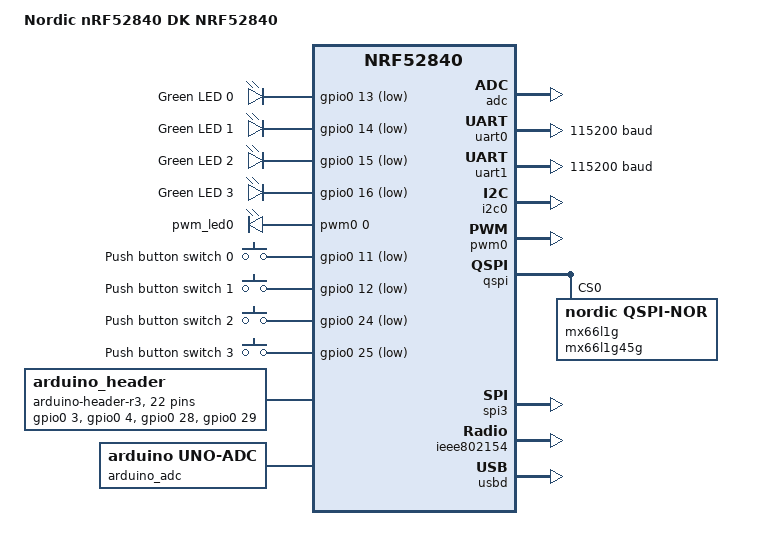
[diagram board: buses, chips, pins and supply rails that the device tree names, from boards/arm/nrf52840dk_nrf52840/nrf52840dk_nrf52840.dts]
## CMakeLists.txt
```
cmake_minimum_required(VERSION 3.20.0)

# Handle custom boilerplate, if defined
if(DEFINED CUSTOM_BOILERPLATE)
    include(${CUSTOM_BOILERPLATE})
    return()
endif()
set(BOARD_ROOT ${CMAKE_CURRENT_SOURCE_DIR})
set(COMMON_PATH "C:/ncs/v2.4.2/modules/hal/nordic/nrfx/samples/common")
include(${COMMON_PATH}/common.cmake)

GET_DEVICE_CONFIG_FILES(${BOARD} boards)

find_package(Zephyr REQUIRED HINTS $ENV{ZEPHYR_BASE})
project(nrfx_example)

target_sources(app PRIVATE  src/main.c 
                            src/Json/cJSON.c
                            src/Json/Jsonhandler.c
                            src/BLE/BleHandler.c
                            src/BLE/BleService.c 
                            src/RTC/RtcHandler.c
                            src/NVS/nvs_flash.c
                            src/ADC/AdcHandler.c
                            src/SYSTEM/SystemHandler.c
                            src/Timer/TimerHandler.c
                            src/Temperature/TempSensor.c
                            src/PMIC/PMICHandler.c
                            "C:/ncs/v2.4.2/modules/hal/nordic/nrfx/samples/src/nrfx_saadc/common/saadc_examples_common.c")
target_include_directories(app PRIVATE  src/Json
                                        src/BLE
                                        src/RTC
                                        src/NVS
                                        src/ADC
                                        src/SYSTEM
                                        src/Timer
                                        src/Temperature
                                        src/PMIC
                                        src
                                        ${COMMON_PATH} "C:/ncs/v2.4.2/modules/hal/nordic/nrfx/samples/src/nrfx_saadc/common")
```

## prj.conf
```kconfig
CONFIG_ADC=y
CONFIG_ADC_ASYNC=y
CONFIG_GPIO=y
CONFIG_STDOUT_CONSOLE=y
CONFIG_PRINTK=y
CONFIG_PWM=y
CONFIG_LOG_PRINTK=y
CONFIG_LOG_MODE_IMMEDIATE=y
CONFIG_PWM_LOG_LEVEL_DBG=y
CONFIG_NEWLIB_LIBC=y
CONFIG_ADC_NRFX_SAADC=y
CONFIG_NRFX_SAADC=y
CONFIG_LOG=y
CONFIG_PM=y
CONFIG_PM_DEVICE=y

#RTC lib enabling
CONFIG_I2C=y

CONFIG_BT=y
CONFIG_BT_PERIPHERAL=y

CONFIG_BT_USER_DATA_LEN_UPDATE=y
CONFIG_BT_GAP_AUTO_UPDATE_CONN_PARAMS=n
CONFIG_BT_BUF_ACL_RX_SIZE=498
CONFIG_BT_ATT_PREPARE_COUNT=2
CONFIG_BT_L2CAP_TX_MTU=484

CONFIG_BT_BUF_ACL_TX_COUNT=10
CONFIG_BT_BUF_ACL_TX_SIZE=37

CONFIG_LOG_DEFAULT_LEVEL=3

CONFIG_FLASH=y
CONFIG_FLASH_PAGE_LAYOUT=y

CONFIG_NVS=y
CONFIG_NVS_LOG_LEVEL_DBG=y
CONFIG_REBOOT=y
CONFIG_MPU_ALLOW_FLASH_WRITE=y

#Enable timer1
CONFIG_NRFX_TIMER1=y

CONFIG_W1=y
CONFIG_SENSOR_LOG_LEVEL_DBG=y

#Floating point support
CONFIG_CBPRINTF_FP_SUPPORT=y
CONFIG_NEWLIB_LIBC_FLOAT_PRINTF=y
CONFIG_CBPRINTF_COMPLETE=y


CONFIG_BT_DEVICE_NAME="VISENSE_TEST_MESH_IRROMETER"
CONFIG_HEAP_MEM_POOL_SIZE=4096
CONFIG_FLASH=y
CONFIG_FLASH_MAP=y
CONFIG_NVS=y
CONFIG_NVS_LOOKUP_CACHE=y
CONFIG_SETTINGS=y
CONFIG_SETTINGS_NVS_NAME_CACHE=y
CONFIG_HWINFO=y
CONFIG_DK_LIBRARY=y
CONFIG_PM_SINGLE_IMAGE=y
CONFIG_PM_PARTITION_SIZE_SETTINGS_STORAGE=0x8000
CONFIG_SOC_FLASH_NRF_PARTIAL_ERASE=y


# Temperature sensor
CONFIG_SENSOR=y
CONFIG_TEMP_NRF5=y

# Bluetooth configuration
CONFIG_BT=y
CONFIG_BT_COMPANY_ID=0x1234
CONFIG_BT_L2CAP_TX_BUF_COUNT=8
CONFIG_BT_OBSERVER=y
CONFIG_BT_PERIPHERAL=y
CONFIG_BT_SETTINGS=y

# Disable unused Bluetooth features
CONFIG_BT_CTLR_DUP_FILTER_LEN=0
CONFIG_BT_CTLR_LE_ENC=n
CONFIG_BT_PHY_UPDATE=n
CONFIG_BT_CTLR_CHAN_SEL_2=n
CONFIG_BT_CTLR_MIN_USED_CHAN=n
CONFIG_BT_CTLR_PRIVACY=n

# Bluetooth mesh configuration
CONFIG_BT_MESH=y
CONFIG_BT_MESH_RELAY=y
CONFIG_BT_MESH_FRIEND=y
CONFIG_BT_MESH_ADV_BUF_COUNT=13
CONFIG_BT_MESH_TX_SEG_MAX=22
CONFIG_BT_MESH_RX_SEG_MAX=22
CONFIG_BT_MESH_PB_GATT=y
CONFIG_BT_MESH_GATT_PROXY=y
CONFIG_BT_MESH_PROXY_USE_DEVICE_NAME=y
CONFIG_BT_MESH_DK_PROV=y
CONFIG_BT_MESH_SUBNET_COUNT=2
CONFIG_BT_MESH_APP_KEY_COUNT=3
CONFIG_BT_MESH_CRPL=10
CONFIG_BT_MESH_MSG_CACHE_SIZE=32

CONFIG_BT_MESH_RELAY_RETRANSMIT_COUNT=2
CONFIG_BT_MESH_TX_SEG_MSG_COUNT=5
CONFIG_BT_MESH_RX_SEG_MSG_COUNT=5
CONFIG_BT_MESH_TX_SEG_RETRANS_COUNT=4



CONFIG_BT_MESH_MODEL_KEY_COUNT=1
CONFIG_BT_MESH_MODEL_GROUP_COUNT=1
CONFIG_BT_MESH_APP_KEY_COUNT=3
CONFIG_BT_MESH_SEG_BUFS=7168
```

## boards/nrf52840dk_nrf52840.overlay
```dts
/*
 * SPDX-License-Identifier: Apache-2.0
 *
 * Copyright (c) 2022 Nordic Semiconductor ASA
 */
 #include "serial_overlay.dtsi"

/ {
	zephyr,user {
		io-channels = <&adc 0>, <&adc 1>, <&adc 7>;
	};
};

&adc {
	#address-cells = <1>;
	#size-cells = <0>;

	channel@0 {
		reg = <0>;
		zephyr,gain = "ADC_GAIN_1_6";
		zephyr,reference = "ADC_REF_INTERNAL";
		zephyr,acquisition-time = <ADC_ACQ_TIME_DEFAULT>;
		zephyr,input-positive = <NRF_SAADC_AIN1>; /* P0.03 */
		zephyr,resolution = <12>;
	};

	channel@1 {
		reg = <1>;
		zephyr,gain = "ADC_GAIN_1_6";
		zephyr,reference = "ADC_REF_INTERNAL";
		zephyr,acquisition-time = <ADC_ACQ_TIME_DEFAULT>;
		zephyr,input-positive = <NRF_SAADC_VDD>;
		zephyr,resolution = <14>;
		zephyr,oversampling = <8>;
	};

	channel@7 {
		reg = <7>;
		zephyr,gain = "ADC_GAIN_1_5";
		zephyr,reference = "ADC_REF_VDD_1_4";
		zephyr,vref-mv = <750>;
		zephyr,acquisition-time = <ADC_ACQ_TIME_DEFAULT>;
		zephyr,input-positive = <NRF_SAADC_AIN6>; /* P0.30 */
		zephyr,input-negative = <NRF_SAADC_AIN7>; /* P0.31 */
		zephyr,resolution = <12>;
	};
};

&arduino_adc {
	io-channel-map = <0 &adc 1>;
};


&i2c0 { /* SDA P0.26, SCL P0.27 */
	status = "okay";
	ds3231: ds3231@68 {
		compatible = "maxim,ds3231";
		reg = <0x68>;
		isw-gpios = <&gpio0 0 (GPIO_PULL_UP | GPIO_ACTIVE_LOW)>;
	};

};

&i2c1 {
	status = "okay"; 
	npm1300_ek_pmic: pmic@6b {
		compatible = "nordic,npm1300";
		reg = <0x6b>;

		npm1300_ek_gpio: gpio-controller {
			compatible = "nordic,npm1300-gpio";
			gpio-controller;
			#gpio-cells = <2>;
			ngpios = <5>;
		};

		npm1300_ek_regulators: regulators {
			compatible = "nordic,npm1300-regulator";

			/* limits are set to min/max allowed values */
			npm1300_ek_buck1: BUCK1 {
				regulator-min-microvolt = <1800000>;
				regulator-max-microvolt = <3300000>;
			};

			npm1300_ek_buck2: BUCK2 {
				regulator-min-microvolt = <1000000>;
				regulator-max-microvolt = <3300000>;
				regulator-init-microvolt = <3300000>;
				retention-microvolt = <2500000>;
				enable-gpios = <&npm1300_ek_gpio 1 GPIO_ACTIVE_LOW>;
				retention-gpios = <&npm1300_ek_gpio 2 GPIO_ACTIVE_HIGH>;
				pwm-gpios = <&npm1300_ek_gpio 2 GPIO_ACTIVE_LOW>;
			};

			npm1300_ek_ldo1: LDO1 {
				regulator-min-microvolt = <1000000>;
				regulator-max-microvolt = <3300000>;
				enable-gpios = <&npm1300_ek_gpio 2 GPIO_ACTIVE_LOW>;
			};

			npm1300_ek_ldo2: LDO2 {
				regulator-min-microvolt = <1000000>;
				regulator-max-microvolt = <3300000>;
				enable-gpios = <&npm1300_ek_gpio 2 GPIO_ACTIVE_LOW>;
			};
		};

		npm1300_ek_charger: charger {
			compatible = "nordic,npm1300-charger";
			
			term-microvolt = <4150000>;
			term-warm-microvolt = <4000000>;
			current-microamp = <150000>;
			dischg-limit-microamp = <1000000>;
			vbus-limit-microamp = <500000>;
			thermistor-ohms = <10000>;
			thermistor-beta = <3380>;
			charging-enable;
		};
	};
};




&pinctrl {
	uart1_default: uart1_default {
		group1 {
			psels = <NRF_PSEL(UART_RX, 1, 1)>;
			bias-pull-up;
		};
		group2 {
			psels = <NRF_PSEL(UART_TX, 1, 2)>;
			/* max. 5mA drive strength: */
			nordic,drive-mode = <NRF_DRIVE_H0D1>;
		};
	};
};
```

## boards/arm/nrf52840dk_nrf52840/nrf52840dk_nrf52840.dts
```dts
/*
 * Copyright (c) 2017 Linaro Limited
 *
 * SPDX-License-Identifier: Apache-2.0
 */

/dts-v1/;
#include <nordic/nrf52840_qiaa.dtsi>
#include "nrf52840dk_nrf52840-pinctrl.dtsi"

/ {
	model = "Nordic nRF52840 DK NRF52840";
	compatible = "nordic,nrf52840-dk-nrf52840";

	chosen {
		zephyr,console = &uart0;
		zephyr,shell-uart = &uart0;
		zephyr,uart-mcumgr = &uart0;
		zephyr,bt-mon-uart = &uart0;
		zephyr,bt-c2h-uart = &uart0;
		zephyr,sram = &sram0;
		zephyr,flash = &flash0;
		zephyr,code-partition = &slot0_partition;
		zephyr,ieee802154 = &ieee802154;
	};

	leds {
		compatible = "gpio-leds";
		led0: led_0 {
			gpios = <&gpio0 13 GPIO_ACTIVE_LOW>;
			label = "Green LED 0";
		};
		led1: led_1 {
			gpios = <&gpio0 14 GPIO_ACTIVE_LOW>;
			label = "Green LED 1";
		};
		led2: led_2 {
			gpios = <&gpio0 15 GPIO_ACTIVE_LOW>;
			label = "Green LED 2";
		};
		led3: led_3 {
			gpios = <&gpio0 16 GPIO_ACTIVE_LOW>;
			label = "Green LED 3";
		};
	};
	
	powerpins {
		testpin0: testpin_0 {
			compatible = "eac,testpin";
			gpios = <&gpio1 11 GPIO_ACTIVE_HIGH>;
			status = "okay";
		};
		testpin1: testpin_1 {
			compatible = "eac,testpin";
			gpios = <&gpio1 10 GPIO_ACTIVE_HIGH>;
			status = "okay";
		};
		muxinputa: muxinput_a {
			compatible = "eac,testpin";
			gpios = <&gpio1 6 GPIO_ACTIVE_HIGH>;
			status = "okay";
		};
		muxinputb: muxinput_b {
			compatible = "eac,testpin";
			gpios = <&gpio1 7 GPIO_ACTIVE_HIGH>;
			status = "okay";
		};
		muxenable: mux_enable {
			compatible = "eac,testpin";
			gpios = <&gpio1 5 GPIO_ACTIVE_LOW>;
			status = "okay";
		};		
	};
	
	pwmleds {
		compatible = "pwm-leds";
		pwm_led0: pwm_led_0 {
			pwms = <&pwm0 0 PWM_MSEC(20) PWM_POLARITY_INVERTED>;
		};
	};

	buttons {
		compatible = "gpio-keys";
		button0: button_0 {
			gpios = <&gpio0 11 (GPIO_PULL_UP | GPIO_ACTIVE_LOW)>;
			label = "Push button switch 0";
		};
		button1: button_1 {
			gpios = <&gpio0 12 (GPIO_PULL_UP | GPIO_ACTIVE_LOW)>;
			label = "Push button switch 1";
		};
		button2: button_2 {
			gpios = <&gpio0 24 (GPIO_PULL_UP | GPIO_ACTIVE_LOW)>;
			label = "Push button switch 2";
		};
		button3: button_3 {
			gpios = <&gpio0 25 (GPIO_PULL_UP | GPIO_ACTIVE_LOW)>;
			label = "Push button switch 3";
		};
	};

	arduino_header: connector {
		compatible = "arduino-header-r3";
		#gpio-cells = <2>;
		gpio-map-mask = <0xffffffff 0xffffffc0>;
		gpio-map-pass-thru = <0 0x3f>;
		gpio-map = <0 0 &gpio0 3 0>,	/* A0 */
			   <1 0 &gpio0 4 0>,	/* A1 */
			   <2 0 &gpio0 28 0>,	/* A2 */
			   <3 0 &gpio0 29 0>,	/* A3 */
			   <4 0 &gpio0 30 0>,	/* A4 */
			   <5 0 &gpio0 31 0>,	/* A5 */
			   <6 0 &gpio1 1 0>,	/* D0 */
			   <7 0 &gpio1 2 0>,	/* D1 */
			   <8 0 &gpio1 3 0>,	/* D2 */
			   <9 0 &gpio1 4 0>,	/* D3 */
			   <10 0 &gpio1 5 0>,	/* D4 */
			   <11 0 &gpio1 6 0>,	/* D5 */
			   <12 0 &gpio1 7 0>,	/* D6 */
			   <13 0 &gpio1 8 0>,	/* D7 */
			   <14 0 &gpio1 10 0>,	/* D8 */
			   <15 0 &gpio1 11 0>,	/* D9 */
			   <16 0 &gpio1 12 0>,	/* D10 */
			   <17 0 &gpio1 13 0>,	/* D11 */
			   <18 0 &gpio1 14 0>,	/* D12 */
			   <19 0 &gpio1 15 0>,	/* D13 */
			   <20 0 &gpio0 26 0>,	/* D14 */
			   <21 0 &gpio0 27 0>;	/* D15 */
	};

	arduino_adc: analog-connector {
		compatible = "arduino,uno-adc";
		#io-channel-cells = <1>;
		io-channel-map = <0 &adc 1>;	/* A0 = P0.3 = AIN1 */
	};

	/* These aliases are provided for compatibility with samples */
	aliases {
		led0 = &led0;
		led1 = &led1;
		led2 = &led2;
		led3 = &led3;
		pwm-led0 = &pwm_led0;
		testpin0 = &testpin0;
		testpin1 = &testpin1;
		muxinputa = &muxinputa;
		muxinputb  = &muxinputb;
		muxenable = &muxenable;
		sw0 = &button0;
		sw1 = &button1;
		sw2 = &button2;
		sw3 = &button3;
		bootloader-led0 = &led0;
		mcuboot-button0 = &button0;
		mcuboot-led0 = &led0;
		watchdog0 = &wdt0;
		//spi-flash0 = &mx25r64;
		spi-flash1 = &mx66l1g;
	};
};

&adc {
	status = "okay";
};

&gpiote {
	status = "okay";
};

&gpio0 {
	status = "okay";
};

&gpio1 {
	status = "okay";
};

&uart0 {
	compatible = "nordic,nrf-uarte";
	status = "okay";
	current-speed = <115200>;
	pinctrl-0 = <&uart0_default>;
	pinctrl-1 = <&uart0_sleep>;
	pinctrl-names = "default", "sleep";
};

arduino_serial: &uart1 {
	current-speed = <115200>;
	pinctrl-0 = <&uart1_default>;
	pinctrl-1 = <&uart1_sleep>;
	pinctrl-names = "default", "sleep";
};

arduino_i2c: &i2c0 {
	compatible = "nordic,nrf-twi";
	status = "okay";
	pinctrl-0 = <&i2c0_default>;
	pinctrl-1 = <&i2c0_sleep>;
	pinctrl-names = "default", "sleep";
};

&i2c1 {
	compatible = "nordic,nrf-twi";
	/* Cannot be used together with spi1. */
	pinctrl-0 = <&i2c1_default>;
	pinctrl-1 = <&i2c1_sleep>;
	pinctrl-names = "default", "sleep";
};

&pwm0 {
	status = "okay";
	pinctrl-0 = <&pwm0_default>;
	pinctrl-1 = <&pwm0_sleep>;
	pinctrl-names = "default", "sleep";
};

&spi0 {
	compatible = "nordic,nrf-spi";
	/* Cannot be used together with i2c0. */
	/* status = "okay"; */
	pinctrl-0 = <&spi0_default>;
	pinctrl-1 = <&spi0_sleep>;
	pinctrl-names = "default", "sleep";
};

&spi1 {
	compatible = "nordic,nrf-spi";
	//status = "okay";
	pinctrl-0 = <&spi1_default>;
	pinctrl-1 = <&spi1_sleep>;
	pinctrl-names = "default", "sleep";
};

&spi2 {
	compatible = "nordic,nrf-spi";
	status = "disabled";
	pinctrl-0 = <&spi2_default>;
	pinctrl-1 = <&spi2_sleep>;
	pinctrl-names = "default", "sleep";
};

&qspi {
	status = "okay";
	pinctrl-0 = <&qspi_default>;
	pinctrl-1 = <&qspi_sleep>;
	pinctrl-names = "default", "sleep";
	// mx25r64: mx25r6435f@0 {
	// 	compatible = "nordic,qspi-nor";
	// 	reg = <0>;
	// 	/* MX25R64 supports only pp and pp4io */
	// 	writeoc = "pp4io";
	// 	/* MX25R64 supports all readoc options */
	// 	readoc = "read4io";
	// 	sck-frequency = <8000000>;
	// 	jedec-id = [c2 28 17];
	// 	sfdp-bfp = [
	// 		e5 20 f1 ff  ff ff ff 03  44 eb 08 6b  08 3b 04 bb
	// 		ee ff ff ff  ff ff 00 ff  ff ff 00 ff  0c 20 0f 52
	// 		10 d8 00 ff  23 72 f5 00  82 ed 04 cc  44 83 68 44
	// 		30 b0 30 b0  f7 c4 d5 5c  00 be 29 ff  f0 d0 ff ff
	// 	];
	// 	size = <67108864>;
	// 	has-dpd;
	// 	t-enter-dpd = <10000>;
	// 	t-exit-dpd = <35000>;
	// };
	mx66l1g: mx66l1g45g@0 {
		compatible = "nordic,qspi-nor";
		reg = <0>;
		/* MX66L1G supports only pp and pp4io */
		writeoc = "pp4io";
		/* MX66L1G supports all readoc options */
		readoc = "read4io";
		sck-frequency = <8000000>;
		//label = "MX66L1G";
		jedec-id = [c2 20 1b];
		sfdp-bfp = [
			e5 20 fb ff  ff ff ff 3f  44 eb 08 6b  08 3b 04 bb
			fe ff ff ff  ff ff 00 ff  ff ff 44 eb  0c 20 0f 52
			10 d8 00 ff  d6 49 c5 00  82 df 04 e3  44 03 67 38
			30 b0 30 b0  f7 bd d5 5c  4a 9e 29 ff  f0 50 f9 85
		];
		size = <1073741824>;
	};	
};

arduino_spi: &spi3 {
	status = "okay";
	cs-gpios = <&arduino_header 16 GPIO_ACTIVE_LOW>; /* D10 */
	pinctrl-0 = <&spi3_default>;
	pinctrl-1 = <&spi3_sleep>;
	pinctrl-names = "default", "sleep";
};

&ieee802154 {
	status = "okay";
};

&flash0 {

	partitions {
		compatible = "fixed-partitions";
		#address-cells = <1>;
		#size-cells = <1>;

		boot_partition: partition@0 {
			label = "mcuboot";
			reg = <0x00000000 0x0000C000>;
		};
		slot0_partition: partition@c000 {
			label = "image-0";
			reg = <0x0000C000 0x00076000>;
		};
		slot1_partition: partition@82000 {
			label = "image-1";
			reg = <0x00082000 0x00076000>;
		};

		/*
		 * The flash starting at 0x000f8000 and ending at
		 * 0x000fffff is reserved for use by the application.
		 */

		/*
		 * Storage partition will be used by FCB/LittleFS/NVS
		 * if enabled.
		 */
		storage_partition: partition@f8000 {
			label = "storage";
			reg = <0x000f8000 0x00008000>;
		};
	};
};

zephyr_udc0: &usbd {
	compatible = "nordic,nrf-usbd";
	status = "okay";
};
```

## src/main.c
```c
/**
 * @file main.c
 * @brief Main function
 * @date 2023-09-27
 * @author Jeslin
 * @note  This is a test code for Irrometer.
*/


/*******************************INCLUDES****************************************/
#include "Json/cJSON.h"
#include "BleHandler.h"
#include "BleService.h"
#include "JsonHandler.h"
#include "RtcHandler.h"
#include "nvs_flash.h"
#include "SystemHandler.h"
#include "AdcHandler.h"
#include "Timerhandler.h"
#include "TempSensor.h"
#include "MeshService.h"
#include "MeshHandler.h"

/*******************************MACROS****************************************/
// #define SLEEP_ENABLE  //Uncomment this line to enable sleep functionality
#define TIME_STAMP_ERROR   (1<<1)
#define TIME_STAMP_OK      ~(1<<1)


/*******************************GLOBAL VARIABLES********************************/
cJSON *pcData = NULL;
uint8_t *pucAdvBuffer = NULL;
struct nvs_fs fs; 
_sConfigData sConfigData = {0};
struct nvs_fs fs;    //file system
struct nvs_fs sConfigFs;
static uint32_t uFlashIdx = 0;  // initialise data counter

/*******************************FUNCTION DECLARATION********************************/
static void PrintBanner();
static bool InitAllModules();
static void InitDataPartition();
static bool InitBle();
static bool InitPowerManager();
static bool CheckForConfigChange();
static bool GetTimeFromRTC();
static bool UpdateConfigurations();
static bool WriteConfiguredtimeToRTC(void);
static void SendConfigDataToApp();
static bool SendHistoryDataToApp(char *pcBuffer, uint16_t unLength);
/*This function is declared here for now. But prototype is in SystemHandler
will remove this from here later now did this for completing the functionality*/
uint32_t *GetDiagData();


/*******************************FUNCTION DEFINITIONS********************************/

/**
 * @brief Main function
*/
int main(void)
{
    int Ret;
    char cbuffer[50] = {0};
    char *cJsonBuffer = NULL;
    cJSON *pMainObject = NULL;
    int nCBValue = 0;
    uint32_t ulsleepTime = 0;
    cJSON *pSensorObj = NULL;
    long long llEpochNow = 0;
    double dTemperature = 0.0;
    int64_t Timenow =0;
    int ADCReading1;
    int ADCReading2;
    uint32_t *pDiagData = NULL;

    PrintBanner();
    printk("VISENSE_IRROMETER_FIRMWARE_VERSION: %s\n\r", VISENSE_IRROMETER_FIRMWARE_VERSION);
    k_msleep(1000);
    printk("FEATURES: %s", VISENSE_IRROMETER_FEATURES);
    k_msleep(1000);
    printk("\n\r");

    if (!InitAllModules())
    {
            printk("ERROR: Initialising all modules failed \n\r");
    }

    if (!CheckForConfigChange())
    {
        printk("ERROR: Config check failed\n\r");
    }    

    if (!GetTimeFromRTC())
    {
        printk("WARN: Getting time from RTC failed\n\r");
    }

    InitIrroMtrExcitingPins();
    InitAdc(NRF_SAADC_INPUT_AIN1, 1);
    pDiagData = GetDiagData();
    while (1) 
    {
        #ifdef SLEEP_ENABLE
        Timenow = sys_clock_tick_get();

        while(sys_clock_tick_get() - Timenow < (ALIVE_TIME * TICK_RATE))
        {
        #endif    

            if (UpdateConfigurations())
            {
                printk("INFO: Updating config \n\r");           
            }

            WriteConfiguredtimeToRTC();
            SendConfigDataToApp();

            pMainObject = cJSON_CreateObject();
           
           if (ReadFromADC(0,  &nCBValue))
            {
                if(nCBValue >= 255)
                {
                    *pDiagData = *pDiagData | IRROMETER_1_ERROR;
                }
                else
                {
                    *pDiagData = *pDiagData & IRROMETER_1_OK;
                }
                memset(cbuffer, '\0', sizeof(cbuffer));
                sprintf(cbuffer,"CB=%d", abs(nCBValue));
                printk("Data:%s\n", cbuffer);
                pSensorObj=cJSON_AddObjectToObject(pMainObject, "S1");
                ADCReading1 = GetADCReadingInForwardBias();
                ADCReading2 = GetADCReadingInReverseBias();
                AddItemtoJsonObject(&pSensorObj, NUMBER_INT, "ADC1", &ADCReading1, sizeof(uint16_t));
                AddItemtoJsonObject(&pSensorObj, NUMBER_INT, "ADC2", &ADCReading2, sizeof(uint16_t));
                AddItemtoJsonObject(&pSensorObj, STRING, "CB", (uint8_t*)cbuffer, (uint8_t)strlen(cbuffer)); 
            }

            if (ReadFromADC(1,  &nCBValue))
            {
                if(nCBValue >= 255)
                {
                    *pDiagData = *pDiagData | IRROMETER_2_ERROR;
                }
                else
                {
                    *pDiagData = *pDiagData & IRROMETER_2_OK;
                }
                memset(cbuffer, '\0', sizeof(cbuffer));
                sprintf(cbuffer,"CB=%d", abs(nCBValue));
                printk("Data:%s\n", cbuffer);
                pSensorObj=cJSON_AddObjectToObject(pMainObject, "S2");
                ADCReading1 = GetADCReadingInForwardBias();
                ADCReading2 = GetADCReadingInReverseBias();
                AddItemtoJsonObject(&pSensorObj, NUMBER_INT, "ADC1", &ADCReading1, sizeof(uint16_t));
                AddItemtoJsonObject(&pSensorObj, NUMBER_INT, "ADC2", &ADCReading2, sizeof(uint16_t));
                AddItemtoJsonObject(&pSensorObj, STRING, "CB", (uint8_t*)cbuffer, (uint8_t)strlen(cbuffer));        
            }

            if (ReadFromADC(2, &nCBValue))
            {
                if(nCBValue >= 255)
                {
                    *pDiagData = *pDiagData | IRROMETER_3_ERROR;
                }
                else
                {
                    *pDiagData = *pDiagData & IRROMETER_3_OK;
                }
                memset(cbuffer, '\0', sizeof(cbuffer));
                sprintf(cbuffer,"CB=%d", abs(nCBValue));
                printk("Data:%s\n", cbuffer);
                pSensorObj=cJSON_AddObjectToObject(pMainObject, "S3");
                ADCReading1 = GetADCReadingInForwardBias();
                ADCReading2 = GetADCReadingInReverseBias();
                AddItemtoJsonObject(&pSensorObj, NUMBER_INT, "ADC1", &ADCReading1, sizeof(uint16_t));
                AddItemtoJsonObject(&pSensorObj, NUMBER_INT, "ADC2", &ADCReading2, sizeof(uint16_t));
                AddItemtoJsonObject(&pSensorObj, STRING, "CB", (uint8_t*)cbuffer, (uint8_t)strlen(cbuffer));
            }
           
            if (GetCurrentTime(&llEpochNow))
            {
                printk("CurrentTime=%llu\n\r", llEpochNow);
            }
            printCurrentTime();
            
            if (ReadTemperatureFromDS18b20(&dTemperature))
            {
                AddItemtoJsonObject(&pMainObject, NUMBER_FLOAT, "Temp", &dTemperature, sizeof(double));
            }

            AddItemtoJsonObject(&pMainObject, NUMBER_INT, "TS", &llEpochNow, sizeof(long long));
            AddItemtoJsonObject(&pMainObject, NUMBER_INT, "DIAG", pDiagData, sizeof(uint32_t));
            cJsonBuffer = cJSON_Print(pMainObject);

            pucAdvBuffer[2] = 0x02;
            pucAdvBuffer[3] = (uint8_t)strlen(cJsonBuffer);
            memcpy(pucAdvBuffer+4, cJsonBuffer, strlen(cJsonBuffer));
            printk("JSON:\n*%s#\n", cJsonBuffer);

            SendHistoryDataToApp(cJsonBuffer, strlen(cJsonBuffer));
            if (IsSupervisorLiveNotifyEnable())
            {
                if (SendLiveDataToSupervisor(cJsonBuffer, strlen(cJsonBuffer)))
                {
                    printk("INFO: LiveData sent to Supervisor\n\r");
                }
                
            }

            if(IsNotificationenabled() && IsConnected())
            {
                VisenseSensordataNotify(pucAdvBuffer+2, ADV_BUFF_SIZE);
            }
            else if (!IsConnected())
            {
                #ifdef EXT_ADV
                    UpdateAdvData();
                    StartAdv();
                #endif
            }
            else
            {
                //No Op
            }
            
            memset(pucAdvBuffer, 0, ADV_BUFF_SIZE);
            cJSON_Delete(pMainObject);
            cJSON_free(cJsonBuffer);
            
            #ifndef SLEEP_ENABLE 
            k_msleep(2000);
            #endif
        #ifdef SLEEP_ENABLE
        }
        #endif

        #ifdef SLEEP_ENABLE
         k_msleep(1000);
         EnterSleepMode(GetSleepTime());
         ExitSleepMode();
        #endif
    }
}

/**
 * @brief Initialise power manager module
 * @param None
 * @return true for success
*/
static bool InitPowerManager()
{
    bool bRetVal = false;

    bRetVal = SetPMState();

    return bRetVal;
}

/**
 * @brief Sending history data over ble
 * @param pcBuffer : data to send
 * @param unLength : Length of data
 * @return None
*/
static bool SendHistoryDataToApp(char *pcBuffer, uint16_t unLength)
{

    char cBuffer[ADV_BUFF_SIZE];
    bool bRetval = false;
    uint32_t *uFlashIdx = NULL;


    uFlashIdx = GetFlashCounter();

    if (pcBuffer)
    {
        if(!IsConnected() && !IsSupervisorLiveNotifyEnable()) // && sConfigData.flag & (1 << 4) can include this condition also if config is mandetory during initial setup
        {
            
            memset(cBuffer, '\0', sizeof(cBuffer));
            memcpy(cBuffer, pcBuffer, unLength);
            if(writeJsonToExternalFlash(cBuffer, *uFlashIdx, WRITE_ALIGNMENT))
            {
                // NO OP
            }
            k_msleep(50);
            if (readJsonFromExternalFlash(cBuffer, *uFlashIdx, WRITE_ALIGNMENT))
            {
                printk("\nId: %d, Stored_Data: %s\n",*uFlashIdx, cBuffer);
            }
            *uFlashIdx = *uFlashIdx + 1;
            sConfigData.flashIdx = uFlashIdx;
            nvs_write(&sConfigFs, 0, (char *)&sConfigData, sizeof(_sConfigData));
            if(uFlashIdx>= NUMBER_OF_ENTRIES)
            {
                uFlashIdx = 0;   
            }
        }
 

        // if(IshistoryNotificationenabled() && IsConnected())
        // {
        //     if(VisenseHistoryDataNotify(*uFlashIdx))
        //     {
        //         *uFlashIdx = 0; 
        //         sConfigData.flashIdx = *uFlashIdx;
        //         nvs_write(&sConfigFs, 0, (char *)&sConfigData, sizeof(_sConfigData));
        //     }
            
        // }

        bRetval = true;
    }

    return bRetval;
}

/**
 * @brief send config data to application over ble
 * @param None
 * @return None
*/
static void SendConfigDataToApp()
{
    cJSON *pConfigObject = NULL;
    char *cJsonConfigBuffer = NULL;
    uint32_t ulSleepTime = 0;
    char cBuffer[30] =  {0};

    pConfigObject = cJSON_CreateObject();
    ulSleepTime = GetSleepTime();
    strcpy(cBuffer, VISENSE_IRROMETER_FIRMWARE_VERSION);
    AddItemtoJsonObject(&pConfigObject, STRING, "VERSION", cBuffer, strlen(cBuffer));
    memset(cBuffer, 0, sizeof(cBuffer));
    sprintf(cBuffer, "%ds", ulSleepTime);
    AddItemtoJsonObject(&pConfigObject, STRING, "Sleep", cBuffer, strlen(cBuffer));
    cJsonConfigBuffer = cJSON_Print(pConfigObject);
    printk("ConfigJSON:\n%s\n", cJsonConfigBuffer);

    if (IsConfigNotifyEnabled())
    {
        VisenseConfigDataNotify(cJsonConfigBuffer, (uint16_t)strlen(cJsonConfigBuffer));
    }

    cJSON_free(cJsonConfigBuffer);
    cJSON_Delete(pConfigObject);
}

/**
 * @brief Write the configured time from BLE to RTC
 * @param None
 * @return true for success
*/
static bool WriteConfiguredtimeToRTC(void)
{
    bool bRetVal = false;
    int RetCode = 0;
    uint32_t *pDiagData = NULL;

    pDiagData = GetDiagData();

    if (GetTimeUpdateStatus())
    {
        if (InitRtc())
        {
            SetTimeUpdateStatus(false); 
            sConfigData.flag = sConfigData.flag | (1 << 4); //set flag for timestamp config data update and store it into flash
            RetCode = nvs_write(&sConfigFs, 0, (char *)&sConfigData, sizeof(_sConfigData));
            if(RetCode < 0)
            {
                *pDiagData = *pDiagData | CONFIG_WRITE_FAILED;
            }
            else
            {
                *pDiagData = *pDiagData & CONFIG_WRITE_OK;
                *pDiagData = *pDiagData & TIME_STAMP_OK;
                printk("Time updated\n");
                bRetVal = true;
            }
        }
        else
        {
            printk("WARN: Check RTC is connected\n\r");
            SetTimeUpdateStatus(false); 
            *pDiagData = *pDiagData | TIME_STAMP_ERROR;
        }
    }

    return bRetVal;
}

/**
 * @brief Initialise BLE functions
 * @param None
 * @return true for success
*/
static bool InitBle()
{
    bool bRetVal = false;
    int nError = 0;

    pucAdvBuffer = GetAdvBuffer();

    do
    {
        if (pucAdvBuffer == NULL)
        {
            break;
        }

        if (!EnableBLE())
        {
            printk("Bluetooth init failed (err %d)\n", nError);
            break;
        }

#ifdef EXT_ADV
        nError = InitExtAdv();
        
        if (nError) 
        {
            printk("Advertising failed to create (err %d)\n", nError);
            break;
        }
#endif        

        // StartAdv();
        bRetVal = true;
    } while (0);
    
    return bRetVal;
}

/**
 * @brief initialise data partitions
 * @param None
 * @return None
*/
static void InitDataPartition()
{
    nvs_initialisation(&fs, DATA_FS); 
    SetFileSystem(&fs);
}

/**
 * @brief Init all modules RTC, BLE,.. etc
 * @param None
 * @return true for success
*/
static bool InitAllModules()
{
    bool bRetVal = false;

    do
    {
       if(!InitPowerManager()) 
       {
            printk("ERROR: Init PM failed\n\r");
            break;
       }

       InitTimer();
       k_sleep(K_TICKS(100));

    //    InitDataPartition();

       if (!InitBle())
       {
            printk("ERROR: Init BLE failed\n\r");
            break;       
       }
       bRetVal = true;
    } while (0);
    
    return bRetVal;
}

/**
 * @brief Check for config change and update value from flash
 * @param None
 * @return true for success
*/
static bool CheckForConfigChange()
{
    uint32_t ulRetCode = 0;
    bool bRetVal = false;
    uint32_t *pDiagData = NULL;
    uint32_t *uFlashIdx = NULL;

    uFlashIdx = GetFlashCounter();
    pDiagData = GetDiagData();

    nvs_initialisation(&sConfigFs, CONFIG_DATA_FS); 
    k_msleep(100);
    ulRetCode = readJsonToFlash(&sConfigFs, 0, 0, (char *)&sConfigData, sizeof(sConfigData)); // read config params from the flash
    if(sConfigData.flag == 0) 
    {
        printk("\n\rError occured while reading config data: %d\n", ulRetCode);
        EraseExternalFlash(SECTOR_COUNT);   
        *pDiagData = *pDiagData | CONFIG_WRITE_FAILED; // flag will shows error while reading config data from flash and added to the application
    }
    else
    {
        SetSleepTime(sConfigData.sleepTime);
        *uFlashIdx = sConfigData.flashIdx;
        printk("sConfigFlag %d ,flashIdx = %d\n",
                                     sConfigData.flag,
                                     sConfigData.flashIdx); //get all the config params from the flash if a reboot occures

        bRetVal = true;
    }

    return bRetVal;
}

/**
 * @brief Update Configurations if any config value is written via Ble
 * @param None
 * @return true for success
*/
static bool UpdateConfigurations()
{
    uint32_t ulRetCode = 0;
    bool bRetVal = false;

    if (IsSleepTimeSet())
    {
        sConfigData.sleepTime = GetSleepTime();
        SetSleepTimeSetStataus(false);
        sConfigData.flag = sConfigData.flag | (1 << 0); //set flag for config data update and store it into flash

        do
        {
            ulRetCode = nvs_write(&sConfigFs, 0, (char *)&sConfigData, sizeof(_sConfigData));

            if (ulRetCode < 0)
            {
                printk("ERROR: Write failed with ret code:%d\n", ulRetCode);
                break;
            }

            k_msleep(100);
            ulRetCode = nvs_read(&sConfigFs, 0, (char *)&sConfigData, sizeof(_sConfigData));

            if (ulRetCode < 0)
            {
                printk("ERROR: Write failed with ret code:%d\n", ulRetCode);
                break;
            }
            bRetVal = true;
        } while (0);
    }

    return bRetVal;
}

/**
 * @brief Getting time from RTC
 * @param None
 * @return true for success
*/
static bool GetTimeFromRTC()
{
    long long llEpochNow = 0;
    bool bRetVal = false;
    uint32_t *pDiagData = NULL;

    pDiagData = GetDiagData();

    if (GetCurrenTimeInEpoch(&llEpochNow))
    {
        printk("CurrentTime=%llu\n\r", llEpochNow);
        SetCurrentTime(llEpochNow);
        *pDiagData = *pDiagData & TIME_STAMP_OK;
        bRetVal = true;
    }
    else
    {
        *pDiagData = *pDiagData | TIME_STAMP_ERROR;
    }

    return bRetVal;
}

/**
 * @brief  printing visense banner
 * @param  None
 * @return None
*/
static void PrintBanner()
{
    printk("\n\r");
    printk("'##::::'##:'####::'######::'########:'##::: ##::'######::'########:\n\r");
    k_msleep(50);
    printk("##:::: ##:. ##::'##... ##: ##.....:: ###:: ##:'##... ##: ##.....::\n\r");
    k_msleep(50);
    printk("##:::: ##:: ##:: ##:::..:: ##::::::: ####: ##: ##:::..:: ##:::::::\n\r");
    k_msleep(50);
    printk("##:::: ##:: ##::. ######:: ######::: ## ## ##:. ######:: ######:::\n\r");
    k_msleep(50);
    printk(". ##:: ##::: ##:::..... ##: ##...:::: ##. ####::..... ##: ##...::::\n\r");
    k_msleep(50);
    printk(":. ## ##:::: ##::'##::: ##: ##::::::: ##:. ###:'##::: ##: ##:::::::\n\r");
    k_msleep(50);
    printk("::. ###::::'####:. ######:: ########: ##::. ##:. ######:: ########:\n\r");
    k_msleep(50);
    printk(":::...:::::....:::......:::........::..::::..:::......:::........::\n\r");
    k_msleep(50);
    printk("\n\r");
}
```

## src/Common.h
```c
/**
 * @file    : Common.h 
 * @brief   : File containing common headers version 
 * @author  : Adhil
 * @date    : 30-10-2023
 * @note 
*/

#ifndef _COMMON_H
#define _COMMON_H

/***************************************INCLUDES*********************************/
#include <zephyr/kernel.h>
#include <zephyr/drivers/gpio.h>
#include <zephyr/devicetree.h>
#include <zephyr/device.h>
#include <zephyr/sys/printk.h>
#include <zephyr/sys/util.h>
#include <nrfx_example.h>
#include <stdlib.h>
#include <stdio.h>
#include <zephyr/sys/reboot.h>

/***************************************MACROS**********************************/
#define VISENSE_IRROMETER_FIRMWARE_VERSION     "0.0.1"
#define VISENSE_IRROMETER_FEATURES             "Configurable Sleep Time\n\r\t  Supports diagnostics\n\r" 

#endif
```
